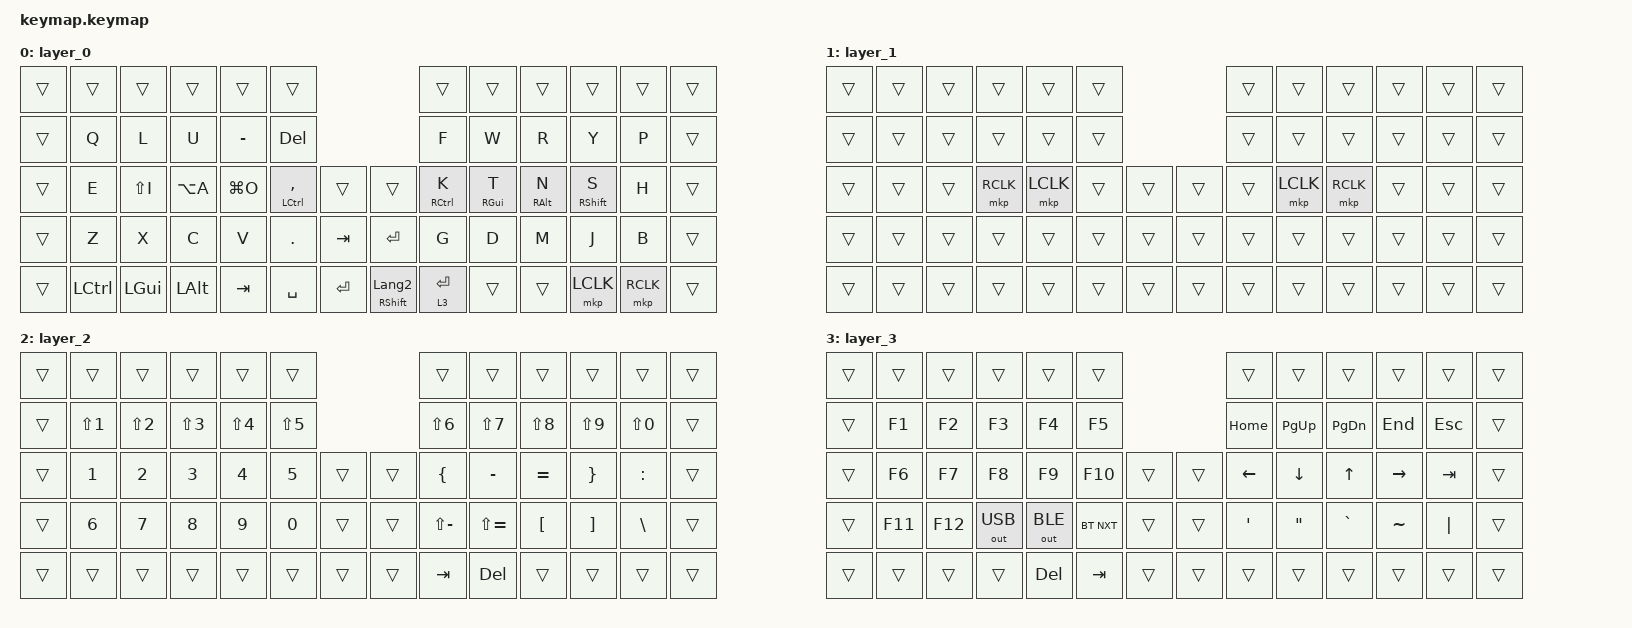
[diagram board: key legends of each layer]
#include <behaviors.dtsi>
#include <dt-bindings/zmk/bt.h>
#include <dt-bindings/zmk/keys.h>
#include <dt-bindings/zmk/outputs.h>
#include <dt-bindings/zmk/pointing.h>

/ {
    combos {
        compatible = "zmk,combos";

        bt_clear {
            bindings = <&bt BT_CLR>;
            key-positions = <28 29>;
            layers = <2>;
        };
    };

    keymap {
        compatible = "zmk,keymap";

        layer_0 {
            bindings = <
&trans  &trans     &trans     &trans     &trans     &trans                                              &trans       &trans           &trans           &trans             &trans     &trans
&trans  &kp Q      &kp L      &kp U      &kp MINUS  &kp DELETE                                          &kp F        &kp W            &kp R            &kp Y              &kp P      &trans
&trans  &kp E      &kp LS(I)  &kp LA(A)  &kp LG(O)  &mt LCTRL COMMA  &trans      &trans                 &mt RCTRL K  &mt RIGHT_GUI T  &mt RIGHT_ALT N  &mt RIGHT_SHIFT S  &kp H      &trans
&trans  &kp Z      &kp X      &kp C      &kp V      &kp PERIOD       &kp TAB     &kp RET                &kp G        &kp D            &kp M            &kp J              &kp B      &trans
&trans  &kp LCTRL  &kp LGUI   &kp LALT   &kp TAB    &kp SPACE        &kp RETURN  &mt RSHIFT LANGUAGE_2  &lt 3 ENTER  &trans           &trans           &mkp LCLK          &mkp RCLK  &trans
            >;
        };

        layer_1 {
            bindings = <
&trans  &trans  &trans  &trans     &trans     &trans                  &trans  &trans     &trans     &trans  &trans  &trans
&trans  &trans  &trans  &trans     &trans     &trans                  &trans  &trans     &trans     &trans  &trans  &trans
&trans  &trans  &trans  &mkp RCLK  &mkp LCLK  &trans  &trans  &trans  &trans  &mkp LCLK  &mkp RCLK  &trans  &trans  &trans
&trans  &trans  &trans  &trans     &trans     &trans  &trans  &trans  &trans  &trans     &trans     &trans  &trans  &trans
&trans  &trans  &trans  &trans     &trans     &trans  &trans  &trans  &trans  &trans     &trans     &trans  &trans  &trans
            >;
        };

        layer_2 {
            bindings = <
&trans  &trans            &trans            &trans      &trans      &trans                      &trans          &trans         &trans            &trans             &trans         &trans
&trans  &kp LS(NUMBER_1)  &kp LS(NUMBER_2)  &kp LS(N3)  &kp LS(N4)  &kp LS(N5)                  &kp LS(N6)      &kp LS(N7)     &kp LS(N8)        &kp LS(N9)         &kp LS(N0)     &trans
&trans  &kp N1            &kp N2            &kp N3      &kp N4      &kp N5      &trans  &trans  &kp LEFT_BRACE  &kp MINUS      &kp EQUAL         &kp RIGHT_BRACE    &kp COLON      &trans
&trans  &kp N6            &kp N7            &kp N8      &kp N9      &kp N0      &trans  &trans  &kp LS(MINUS)   &kp LS(EQUAL)  &kp LEFT_BRACKET  &kp RIGHT_BRACKET  &kp BACKSLASH  &trans
&trans  &trans            &trans            &trans      &trans      &trans      &trans  &trans  &kp TAB         &kp DEL        &trans            &trans             &trans         &trans
            >;
        };

        layer_3 {
            bindings = <
&trans  &trans   &trans   &trans        &trans        &trans                      &trans            &trans     &trans         &trans     &trans      &trans
&trans  &kp F1   &kp F2   &kp F3        &kp F4        &kp F5                      &kp HOME          &kp PG_UP  &kp PAGE_DOWN  &kp END    &kp ESCAPE  &trans
&trans  &kp F6   &kp F7   &kp F8        &kp F9        &kp F10     &trans  &trans  &kp LEFT          &kp DOWN   &kp UP_ARROW   &kp RIGHT  &kp TAB     &trans
&trans  &kp F11  &kp F12  &out OUT_USB  &out OUT_BLE  &bt BT_NXT  &trans  &trans  &kp SINGLE_QUOTE  &kp DQT    &kp GRAVE      &kp TILDE  &kp PIPE    &trans
&trans  &trans   &trans   &trans        &kp DELETE    &kp TAB     &trans  &trans  &trans            &trans     &trans         &trans     &trans      &trans
            >;
        };
    };
};
